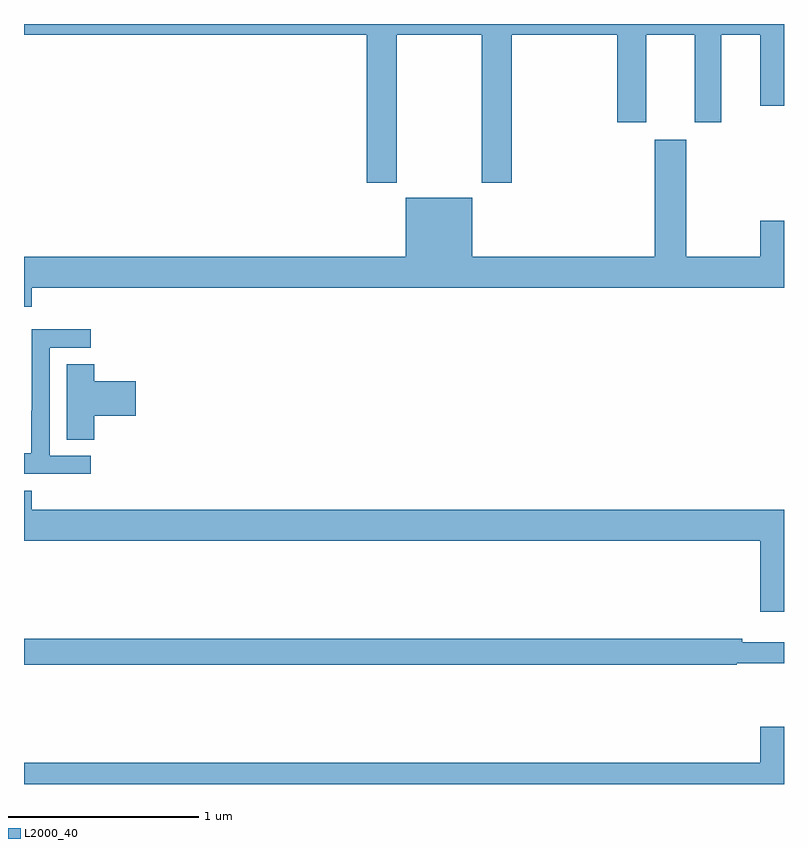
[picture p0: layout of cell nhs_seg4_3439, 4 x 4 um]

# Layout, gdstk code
import gdstk
lib = gdstk.Library(unit=1e-6, precision=1e-09)
def P(c, l, *ps):  # polygons
    for p in ps: c.add(gdstk.Polygon(p, *l))
L2000_40 = (2000, 40)

nhs_seg4_3439 = lib.new_cell('nhs_seg4_3439')
P(nhs_seg4_3439, L2000_40, [(294.963,772.844),(295.408,772.844),(295.408,772.065),(295.568,772.065),(295.568,772.844),(296.123,772.844),(296.123,772.383),(296.275,772.383),(296.275,772.844),(296.531,772.844),(296.531,772.383),(296.671,772.383),(296.671,772.844),(296.876,772.844),(296.876,772.47),(297,772.47),(297,772.9),(293,772.9),(293,772.844),(294.803,772.844),(294.803,772.065),(294.963,772.065)],
  [(293.042,771.512),(297,771.512),(297,771.865),(296.876,771.865),(296.876,771.676),(296.485,771.676),(296.485,772.291),(296.321,772.291),(296.321,771.676),(295.36,771.676),(295.36,771.985),(295.01,771.985),(295.01,771.676),(293,771.676),(293,771.413),(293.042,771.413)],
  [(293.35,770.628),(293.136,770.628),(293.136,771.195),(293.35,771.195),(293.35,771.294),(293.04,771.294),(293.04,770.864),(293.038,770.864),(293.038,770.641),(293,770.641),(293,770.532),(293.35,770.532)],
  [(293.369,770.837),(293.587,770.837),(293.587,771.02),(293.369,771.02),(293.369,771.11),(293.225,771.11),(293.225,770.713),(293.369,770.713)],
  [(297,770.344),(293.042,770.344),(293.042,770.443),(293,770.443),(293,770.18),(296.876,770.18),(296.876,769.806),(297,769.806)],
  [(296.751,769.536),(297,769.536),(297,769.645),(296.78,769.645),(296.78,769.664),(293,769.664),(293,769.528),(296.751,769.528)],
  [(293,768.9),(297,768.9),(297,769.201),(296.876,769.201),(296.876,769.012),(293,769.012)])

lib.write_gds('nhs_seg4_3439.gds')
